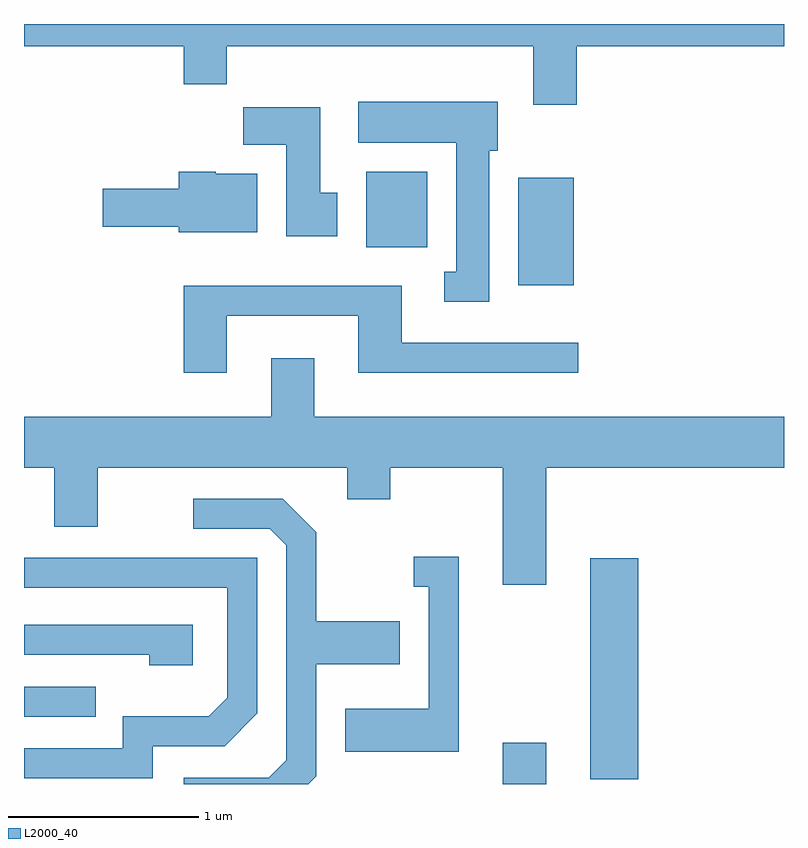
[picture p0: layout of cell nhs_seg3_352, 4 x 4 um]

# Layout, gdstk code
import gdstk
lib = gdstk.Library(unit=1e-6, precision=1e-09)
def R(c, l, rs):  # rectangles x0, y0, x1, y1
    for r in rs: c.add(gdstk.rectangle(r[:2], r[2:], *l))
def P(c, l, *ps):  # polygons
    for p in ps: c.add(gdstk.Polygon(p, *l))
L2000_40 = (2000, 40)

nhs_seg3_352 = lib.new_cell('nhs_seg3_352')
R(nhs_seg3_352, L2000_40, [(198.131,1139.892,198.359,1140.109), (198.591,1139.916,198.844,1141.079), (195.611,1140.246,195.988,1140.404), (198.211,1142.516,198.504,1143.084), (197.411,1142.716,197.734,1143.114)])
P(nhs_seg3_352, L2000_40, [(198.519,1143.776),(199.611,1143.776),(199.611,1143.892),(195.611,1143.892),(195.611,1143.776),(196.451,1143.776),(196.451,1143.576),(196.679,1143.576),(196.679,1143.776),(198.291,1143.776),(198.291,1143.466),(198.519,1143.466)],
  [(198.059,1143.226),(198.104,1143.226),(198.104,1143.484),(197.371,1143.484),(197.371,1143.266),(197.886,1143.266),(197.886,1142.589),(197.823,1142.589),(197.823,1142.431),(198.059,1142.431)],
  [(197.259,1143.004),(197.169,1143.004),(197.169,1143.454),(196.766,1143.454),(196.766,1143.256),(196.991,1143.256),(196.991,1142.776),(197.259,1142.776)],
  [(196.839,1143.104),(196.62,1143.104),(196.62,1143.114),(196.426,1143.114),(196.426,1143.024),(196.026,1143.024),(196.026,1142.826),(196.426,1142.826),(196.426,1142.796),(196.839,1142.796)],
  [(196.679,1142.356),(197.371,1142.356),(197.371,1142.056),(198.528,1142.056),(198.528,1142.214),(197.599,1142.214),(197.599,1142.514),(196.451,1142.514),(196.451,1142.056),(196.679,1142.056)],
  [(198.359,1141.556),(199.611,1141.556),(199.611,1141.824),(197.139,1141.824),(197.139,1142.134),(196.911,1142.134),(196.911,1141.824),(195.611,1141.824),(195.611,1141.556),(195.771,1141.556),(195.771,1141.246),(195.999,1141.246),(195.999,1141.556),(197.311,1141.556),(197.311,1141.391),(197.539,1141.391),(197.539,1141.556),(198.131,1141.556),(198.131,1140.941),(198.359,1140.941)],
  [(197.149,1139.934),(197.149,1140.521),(197.589,1140.521),(197.589,1140.749),(197.149,1140.749),(197.149,1141.217),(196.972,1141.394),(196.503,1141.394),(196.503,1141.236),(196.904,1141.236),(196.991,1141.149),(196.991,1140.017),(196.899,1139.924),(196.453,1139.924),(196.453,1139.892),(197.107,1139.892)],
  [(197.899,1141.089),(197.663,1141.089),(197.663,1140.931),(197.741,1140.931),(197.741,1140.289),(197.301,1140.289),(197.301,1140.061),(197.899,1140.061)],
  [(196.289,1140.091),(196.667,1140.091),(196.839,1140.264),(196.839,1141.084),(195.611,1141.084),(195.611,1140.926),(196.681,1140.926),(196.681,1140.347),(196.584,1140.249),(196.131,1140.249),(196.131,1140.079),(195.611,1140.079),(195.611,1139.921),(196.289,1139.921)],
  [(196.499,1140.729),(195.611,1140.729),(195.611,1140.571),(196.271,1140.571),(196.271,1140.516),(196.499,1140.516)])

lib.write_gds('nhs_seg3_352.gds')
